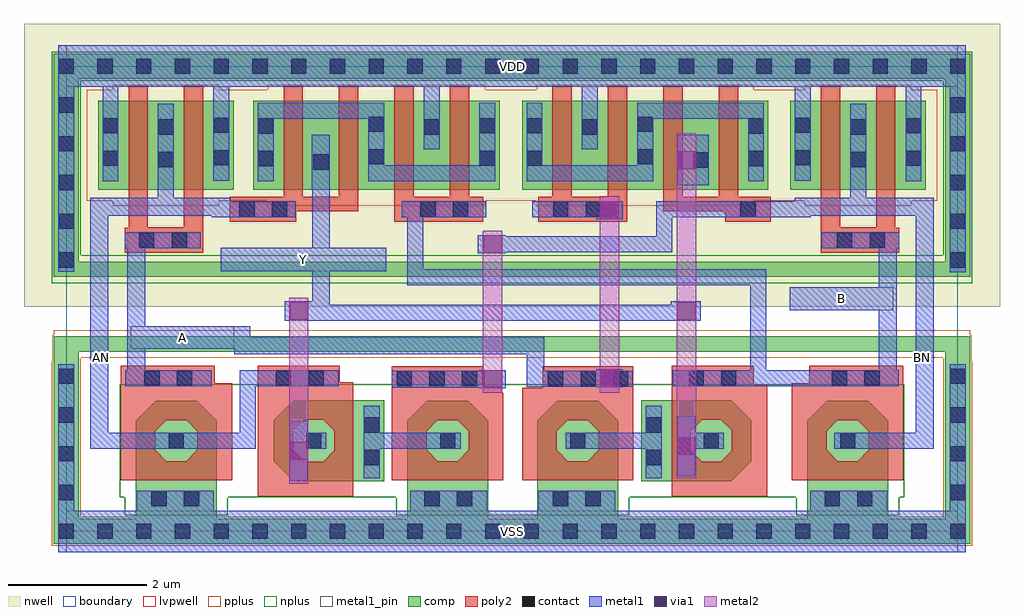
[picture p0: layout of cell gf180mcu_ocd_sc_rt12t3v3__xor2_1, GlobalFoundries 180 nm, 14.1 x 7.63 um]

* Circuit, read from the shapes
.subckt gf180mcu_ocd_sc_rt12t3v3__xor2_1 A AN B BN VDD VSS Y
XM1 AN A VSS VSS nfet_03v3 w=1.785u l=0.5358u
XM2 Y AN n1 VSS nfet_03v3 w=1.785u l=0.5344u
XM3 n1 BN VSS VSS nfet_03v3 w=1.785u l=0.5344u
XM4 n2 A VSS VSS nfet_03v3 w=1.785u l=0.5301u
XM5 Y B n2 VSS nfet_03v3 w=1.785u l=0.5294u
XM6 BN B VSS VSS nfet_03v3 w=1.785u l=0.531u
XM7 AN A VDD VDD pfet_03v3 w=1.285u l=0.28u m=2
XM8 Y AN n3 VDD pfet_03v3 w=1.285u l=0.28u m=2
XM9 VDD B n3 VDD pfet_03v3 w=1.285u l=0.28u m=2
XM10 VDD A n4 VDD pfet_03v3 w=1.285u l=0.28u m=2
XM11 Y BN n4 VDD pfet_03v3 w=1.285u l=0.28u m=2
XM12 BN B VDD VDD pfet_03v3 w=1.285u l=0.28u m=2
.ends

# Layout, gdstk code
import gdstk
lib = gdstk.Library(unit=1e-6, precision=1e-09)
def R(c, l, rs):  # rectangles x0, y0, x1, y1
    for r in rs: c.add(gdstk.rectangle(r[:2], r[2:], *l))
def A(c, l, x, y, w, h, nx, ny, dx, dy):  # array of equal rectangles
    R(c, l, [(x+i*dx, y+j*dy, x+i*dx+w, y+j*dy+h) for i in range(nx) for j in range(ny)])
def P(c, l, *ps):  # polygons
    for p in ps: c.add(gdstk.Polygon(p, *l))
boundary = (0, 0)
nwell = (21, 0)
comp = (22, 0)
poly2 = (30, 0)
pplus = (31, 0)
nplus = (32, 0)
contact = (33, 0)
metal1 = (34, 0)
metal1_pin = (34, 10)
via1 = (35, 0)
metal2 = (36, 0)
lvpwell = (204, 0)

gf180mcu_ocd_sc_rt12t3v3 = lib.new_cell('gf180mcu_ocd_sc_rt12t3v3__xor2_1')
R(gf180mcu_ocd_sc_rt12t3v3, boundary, [(0,0,12.88,6.72)])
R(gf180mcu_ocd_sc_rt12t3v3, nwell, [(-0.61,3.245,13.49,7.33)])
R(gf180mcu_ocd_sc_rt12t3v3, comp, [(-0.18,-0.18,13.06,0.18), (-0.18,0.18,0.18,2.595), (1.005,0.18,2.175,1.595), (4.925,0.18,6.095,1.595), (6.805,0.18,7.975,1.595), (10.705,0.18,11.875,1.595), (12.7,0.18,13.06,2.595), (3.29,0.725,4.595,1.015), (8.305,0.725,9.605,1.015), (3,1.015,4.595,1.605), (8.305,1.015,9.895,1.605), (1.295,1.595,1.885,1.885), (5.215,1.595,5.805,1.885), (6.815,1.595,7.685,1.605), (10.995,1.595,11.585,1.885), (3.28,1.605,4.595,1.885), (7.095,1.605,7.685,1.885), (8.305,1.605,9.605,1.895), (3.29,1.885,4.595,1.895), (-0.18,2.595,13.06,2.815), (-0.18,3.675,13.06,3.895), (-0.18,3.895,0.18,6.54), (12.7,3.895,13.06,6.54), (0.46,4.935,2.42,6.22), (2.7,4.935,6.26,6.22), (6.585,4.935,10.145,6.22), (10.46,4.935,12.42,6.22), (-0.18,6.54,13.06,6.9)])
P(gf180mcu_ocd_sc_rt12t3v3, comp, [(3.28,1.885),(3.29,1.885),(3.29,1.895)],
  [(1.005,1.595),(1.295,1.595),(1.295,1.885)],
  [(1.885,1.885),(1.885,1.595),(2.175,1.595)],
  [(3,1.605),(3.28,1.605),(3.28,1.885)],
  [(3,1.015),(3.29,1.015),(3.29,0.725)],
  [(4.925,1.595),(5.215,1.595),(5.215,1.885)],
  [(5.805,1.885),(5.805,1.595),(6.095,1.595)],
  [(6.815,1.605),(7.095,1.605),(7.095,1.885)],
  [(6.805,1.595),(6.815,1.595),(6.815,1.605)],
  [(7.685,1.885),(7.685,1.595),(7.975,1.595)],
  [(9.605,1.895),(9.605,1.605),(9.895,1.605)],
  [(9.605,0.725),(9.605,1.015),(9.895,1.015)],
  [(10.705,1.595),(10.995,1.595),(10.995,1.885)],
  [(11.585,1.885),(11.585,1.595),(11.875,1.595)])
A(gf180mcu_ocd_sc_rt12t3v3, poly2, 3.14, 4.835, 0.28, 1.605, 4, 1, 0.8, 0)
A(gf180mcu_ocd_sc_rt12t3v3, poly2, 7.025, 4.835, 0.28, 1.605, 4, 1, 0.8, 0)
R(gf180mcu_ocd_sc_rt12t3v3, poly2, [(2.765,0.505,4.15,1.005), (8.745,0.505,10.13,1.005), (0.785,0.735,2.395,1.015), (4.705,0.735,6.315,1.015), (6.585,0.735,8.195,1.015), (10.485,0.735,12.095,1.015), (2.765,1.005,3.29,1.155), (3.86,1.005,4.15,1.155), (8.745,1.005,9.025,1.615), (9.605,1.005,10.13,1.155), (0.785,1.015,1.285,1.595), (1.895,1.015,2.395,1.595), (4.705,1.015,5.205,1.595), (5.815,1.015,6.315,1.595), (6.585,1.015,7.085,1.605), (7.695,1.015,8.195,1.595), (10.485,1.015,10.985,1.595), (11.595,1.015,12.095,1.595), (2.765,1.155,3.28,1.465), (3.87,1.155,4.15,1.465), (9.615,1.155,10.13,1.465), (2.765,1.465,3.29,1.615), (3.86,1.465,4.15,1.615), (9.605,1.465,10.13,1.615), (0.785,1.595,1.435,1.605), (1.745,1.595,2.395,1.605), (4.705,1.595,5.355,1.605), (5.665,1.595,6.315,1.605), (7.545,1.595,8.195,1.605), (10.485,1.595,11.135,1.605), (11.445,1.595,12.095,1.605), (0.785,1.605,2.395,2.14), (4.705,1.605,6.315,2), (6.585,1.605,8.195,2.075), (10.485,1.605,12.095,2.14), (2.765,1.615,4.15,2.15), (8.745,1.615,10.13,2.115), (4.705,2,6.285,2.095), (6.885,2.075,8.195,2.385), (4.705,2.095,6.015,2.385), (8.745,2.115,9.93,2.39), (0.785,2.14,2.145,2.39), (10.735,2.14,12.095,2.39), (2.765,2.15,3.95,2.39), (0.845,4.025,1.98,4.385), (10.9,4.025,12.035,4.385), (0.9,4.385,1.98,4.39), (10.9,4.385,11.98,4.39), (0.9,4.39,1.18,6.44), (1.7,4.39,1.98,6.44), (10.9,4.39,11.18,6.44), (11.7,4.39,11.98,6.44), (2.365,4.475,3.325,4.625), (4.74,4.475,6.025,4.835), (6.82,4.475,8.105,4.835), (9.52,4.475,10.18,4.625), (2.365,4.625,4.22,4.835), (8.625,4.625,10.18,4.835)])
P(gf180mcu_ocd_sc_rt12t3v3, poly2, [(1.435,1.595),(1.435,1.605),(1.445,1.605)],
  [(1.735,1.605),(1.745,1.605),(1.745,1.595)],
  [(1.285,1.445),(1.285,1.595),(1.435,1.595)],
  [(1.745,1.595),(1.895,1.595),(1.895,1.445)],
  [(1.285,1.175),(1.285,1.015),(1.445,1.015)],
  [(1.735,1.015),(1.895,1.015),(1.895,1.175)],
  [(3.29,1.465),(3.29,1.615),(3.44,1.615)],
  [(3.71,1.615),(3.86,1.615),(3.86,1.465)],
  [(3.28,1.455),(3.28,1.465),(3.29,1.465)],
  [(3.86,1.465),(3.87,1.465),(3.87,1.455)],
  [(3.28,1.165),(3.28,1.155),(3.29,1.155)],
  [(3.86,1.155),(3.87,1.155),(3.87,1.165)],
  [(3.29,1.155),(3.29,1.005),(3.44,1.005)],
  [(3.71,1.005),(3.86,1.005),(3.86,1.155)],
  [(5.355,1.595),(5.355,1.605),(5.365,1.605)],
  [(5.655,1.605),(5.665,1.605),(5.665,1.595)],
  [(5.205,1.445),(5.205,1.595),(5.355,1.595)],
  [(5.665,1.595),(5.815,1.595),(5.815,1.445)],
  [(5.205,1.175),(5.205,1.015),(5.365,1.015)],
  [(5.655,1.015),(5.815,1.015),(5.815,1.175)],
  [(7.085,1.445),(7.085,1.605),(7.245,1.605)],
  [(7.535,1.605),(7.545,1.605),(7.545,1.595)],
  [(7.545,1.595),(7.695,1.595),(7.695,1.445)],
  [(7.085,1.175),(7.085,1.015),(7.245,1.015)],
  [(7.535,1.015),(7.695,1.015),(7.695,1.175)],
  [(9.025,1.455),(9.025,1.615),(9.185,1.615)],
  [(9.455,1.615),(9.605,1.615),(9.605,1.465)],
  [(9.605,1.465),(9.615,1.465),(9.615,1.455)],
  [(9.025,1.165),(9.025,1.005),(9.185,1.005)],
  [(9.605,1.155),(9.615,1.155),(9.615,1.165)],
  [(9.455,1.005),(9.605,1.005),(9.605,1.155)],
  [(11.135,1.595),(11.135,1.605),(11.145,1.605)],
  [(11.435,1.605),(11.445,1.605),(11.445,1.595)],
  [(10.985,1.445),(10.985,1.595),(11.135,1.595)],
  [(11.445,1.595),(11.595,1.595),(11.595,1.445)],
  [(10.985,1.175),(10.985,1.015),(11.145,1.015)],
  [(11.435,1.015),(11.595,1.015),(11.595,1.175)])
R(gf180mcu_ocd_sc_rt12t3v3, pplus, [(-0.21,-0.21,13.09,0.21), (-0.21,0.21,0.21,2.45), (0.985,0.21,2.195,0.235), (4.905,0.21,6.115,0.235), (6.785,0.21,7.995,0.235), (10.685,0.21,11.895,0.235), (12.67,0.21,13.09,2.45), (-0.2,2.45,0.21,2.505), (12.67,2.45,13.08,2.505), (-0.2,2.505,13.08,2.835), (-0.18,2.835,13.06,2.905), (0.67,4.705,2.21,4.775), (2.91,4.705,6.05,4.775), (6.795,4.705,9.935,4.775), (10.67,4.705,12.21,4.775), (0.3,4.775,12.58,6.38), (0.67,6.38,2.21,6.45), (2.91,6.38,6.05,6.45), (6.795,6.38,9.935,6.45), (10.67,6.38,12.21,6.45)])
R(gf180mcu_ocd_sc_rt12t3v3, nplus, [(0.845,0.235,2.335,0.495), (4.765,0.235,8.135,0.495), (10.545,0.235,12.035,0.495), (0.775,0.495,12.105,2.125), (-0.21,3.585,13.09,3.985), (-0.21,3.985,0.21,6.51), (12.67,3.985,13.09,6.51), (-0.21,6.51,13.09,6.93)])
A(gf180mcu_ocd_sc_rt12t3v3, contact, -0.11, -0.11, 0.22, 0.22, 24, 2, 0.56, 6.72)
A(gf180mcu_ocd_sc_rt12t3v3, contact, -0.11, 0.45, 0.22, 0.22, 1, 4, 0, 0.56)
A(gf180mcu_ocd_sc_rt12t3v3, contact, 12.77, 0.45, 0.22, 0.22, 1, 4, 0, 0.56)
A(gf180mcu_ocd_sc_rt12t3v3, contact, 4.775, 2.095, 0.22, 0.22, 3, 1, 0.47, 0)
A(gf180mcu_ocd_sc_rt12t3v3, contact, 6.96, 2.095, 0.22, 0.22, 3, 1, 0.47, 0)
A(gf180mcu_ocd_sc_rt12t3v3, contact, -0.11, 3.81, 0.22, 0.22, 1, 5, 0, 0.56)
A(gf180mcu_ocd_sc_rt12t3v3, contact, 12.77, 3.81, 0.22, 0.22, 1, 5, 0, 0.56)
R(gf180mcu_ocd_sc_rt12t3v3, contact, [(1.23,0.36,1.45,0.58), (1.7,0.36,1.92,0.58), (5.175,0.36,5.395,0.58), (5.645,0.36,5.865,0.58), (7.03,0.36,7.25,0.58), (7.5,0.36,7.72,0.58), (10.955,0.36,11.175,0.58), (11.425,0.36,11.645,0.58), (4.305,0.955,4.525,1.175), (8.375,0.955,8.595,1.175), (1.48,1.2,1.7,1.42), (3.465,1.2,3.685,1.42), (5.4,1.2,5.62,1.42), (7.28,1.2,7.5,1.42), (9.21,1.2,9.43,1.42), (11.18,1.2,11.4,1.42), (4.305,1.425,4.525,1.645), (8.375,1.425,8.595,1.645), (1.13,2.1,1.35,2.32), (1.6,2.1,1.82,2.32), (3.03,2.1,3.25,2.32), (3.5,2.1,3.72,2.32), (8.99,2.1,9.21,2.32), (9.46,2.1,9.68,2.32), (11.06,2.1,11.28,2.32), (11.53,2.1,11.75,2.32), (1.055,4.095,1.275,4.315), (1.525,4.095,1.745,4.315), (11.135,4.095,11.355,4.315), (11.605,4.095,11.825,4.315), (2.5,4.545,2.72,4.765), (2.97,4.545,3.19,4.765), (5.115,4.545,5.335,4.765), (5.585,4.545,5.805,4.765), (7.035,4.545,7.255,4.765), (7.505,4.545,7.725,4.765), (9.74,4.545,9.96,4.765), (3.57,5.225,3.79,5.445), (9.055,5.255,9.275,5.475), (1.33,5.26,1.55,5.48), (11.33,5.26,11.55,5.48), (2.77,5.275,2.99,5.495), (9.855,5.275,10.075,5.495), (0.53,5.28,0.75,5.5), (5.97,5.28,6.19,5.5), (6.655,5.28,6.875,5.5), (12.13,5.28,12.35,5.5), (2.13,5.285,2.35,5.505), (10.53,5.285,10.75,5.505), (4.37,5.3,4.59,5.52), (8.255,5.3,8.475,5.52), (1.33,5.73,1.55,5.95), (5.17,5.73,5.39,5.95), (7.455,5.73,7.675,5.95), (11.33,5.73,11.55,5.95), (2.77,5.745,2.99,5.965), (9.855,5.745,10.075,5.965), (0.53,5.75,0.75,5.97), (5.97,5.75,6.19,5.97), (6.655,5.75,6.875,5.97), (12.13,5.75,12.35,5.97), (2.13,5.755,2.35,5.975), (10.53,5.755,10.75,5.975), (4.37,5.77,4.59,5.99), (8.255,5.77,8.475,5.99)])
R(gf180mcu_ocd_sc_rt12t3v3, metal1, [(-0.115,-0.3,12.995,0.3), (-0.115,0.3,0.115,2.41), (1.02,0.3,2.13,0.585), (4.97,0.3,6.08,0.585), (6.82,0.3,7.93,0.585), (10.75,0.3,11.86,0.585), (12.765,0.3,12.995,2.41), (3.23,0.73,3.49,1.195), (4.3,0.77,4.53,1.195), (8.37,0.77,8.6,1.195), (8.83,0.8,9.09,1.195), (0.345,1.195,2.74,1.425), (3.23,1.195,3.76,1.425), (4.3,1.195,5.7,1.425), (7.22,1.195,8.6,1.425), (8.83,1.195,9.5,1.425), (11.095,1.195,12.535,1.425), (0.345,1.425,0.605,4.56), (2.51,1.425,2.74,2.095), (3.23,1.425,3.49,1.6), (4.3,1.425,4.53,1.815), (8.37,1.425,8.6,1.815), (8.83,1.425,9.09,1.665), (12.275,1.425,12.535,4.56), (5.97,2.065,6.35,2.075), (4.705,2.075,6.35,2.32), (7.66,2.08,8.04,2.09), (6.655,2.09,8.185,2.32), (0.85,2.095,2.105,2.325), (2.51,2.095,3.94,2.325), (8.76,2.095,12.03,2.325), (5.97,2.32,6.35,2.325), (6.655,2.32,6.905,2.555), (7.66,2.32,8.04,2.34), (0.88,2.325,1.14,2.635), (9.885,2.325,10.115,3.555), (11.74,2.325,12,3.195), (2.43,2.555,6.905,2.635), (0.88,2.635,6.905,2.81), (0.88,2.81,2.66,2.965), (0.88,2.965,1.14,4.09), (3.16,3.04,9.165,3.27), (10.45,3.195,12,3.525), (3.16,3.27,3.81,3.325), (8.73,3.27,9.165,3.32), (3.555,3.325,3.81,3.76), (11.74,3.525,12,4.09), (4.93,3.555,10.115,3.785), (12.765,3.745,12.995,6.42), (-0.115,3.75,0.115,6.42), (2.235,3.76,4.625,4.095), (4.93,3.785,5.16,4.54), (5.945,4.02,6.35,4.035), (5.945,4.035,8.755,4.265), (0.845,4.09,1.945,4.32), (10.905,4.09,12.035,4.32), (3.555,4.095,3.81,4.945), (5.945,4.265,6.35,4.28), (8.525,4.265,8.755,4.54), (7.66,4.51,8.04,4.54), (2.1,4.54,3.315,4.56), (4.85,4.54,6.07,4.77), (6.735,4.54,8.04,4.77), (8.525,4.54,10.755,4.56), (0.345,4.56,3.315,4.77), (8.525,4.56,12.535,4.77), (0.345,4.77,2.38,4.82), (10.525,4.77,12.535,4.82), (1.325,4.82,1.555,6.18), (11.325,4.82,11.555,6.18), (3.55,4.945,3.81,5.73), (8.83,5,9.28,5.73), (2.765,5.055,2.995,5.96), (9.85,5.055,10.08,5.96), (0.525,5.06,0.755,6.42), (4.365,5.06,6.195,5.29), (6.65,5.06,8.48,5.29), (12.125,5.06,12.355,6.42), (2.125,5.065,2.355,6.42), (10.525,5.065,10.755,6.42), (4.365,5.29,4.595,5.96), (5.965,5.29,6.195,6.19), (6.65,5.29,6.88,6.19), (8.25,5.29,8.48,5.96), (5.165,5.52,5.395,6.42), (7.45,5.52,7.68,6.42), (2.765,5.96,4.595,6.19), (8.25,5.96,10.08,6.19), (-0.115,6.42,12.995,7.02)])
R(gf180mcu_ocd_sc_rt12t3v3, metal1_pin, [(0,-0.3,12.88,0.3), (0.93,2.635,2.43,2.965), (10.45,3.195,11.95,3.525), (2.235,3.76,4.625,4.095), (0,6.42,12.88,7.02)])
R(gf180mcu_ocd_sc_rt12t3v3, via1, [(3.23,1.035,3.49,1.295), (8.83,1.1,9.09,1.36), (6.03,2.065,6.29,2.325), (7.72,2.08,7.98,2.34), (8.83,3.05,9.09,3.31), (3.23,3.055,3.49,3.315), (6.03,4.02,6.29,4.28), (7.72,4.51,7.98,4.77), (8.83,5.23,9.09,5.49)])
R(gf180mcu_ocd_sc_rt12t3v3, metal2, [(3.22,0.69,3.5,3.375), (8.82,0.77,9.1,5.75), (7.71,2,7.99,4.84), (6.02,2.005,6.3,4.34)])
R(gf180mcu_ocd_sc_rt12t3v3, lvpwell, [(-0.18,-0.18,13.06,2.815)])
gf180mcu_ocd_sc_rt12t3v3.add(gdstk.Label('BN', (12.375,2.51), layer=34, texttype=0))
gf180mcu_ocd_sc_rt12t3v3.add(gdstk.Label('AN', (0.505,2.51), layer=34, texttype=0))
gf180mcu_ocd_sc_rt12t3v3.add(gdstk.Label('A', (1.68,2.8), layer=34, texttype=10))
gf180mcu_ocd_sc_rt12t3v3.add(gdstk.Label('B', (11.2,3.36), layer=34, texttype=10))
gf180mcu_ocd_sc_rt12t3v3.add(gdstk.Label('Y', (3.43,3.927), layer=34, texttype=10))
gf180mcu_ocd_sc_rt12t3v3.add(gdstk.Label('VDD', (6.44,6.72), layer=34, texttype=10))
gf180mcu_ocd_sc_rt12t3v3.add(gdstk.Label('VSS', (6.44,0), layer=34, texttype=10))

lib.write_gds('gf180mcu_ocd_sc_rt12t3v3__xor2_1.gds')
